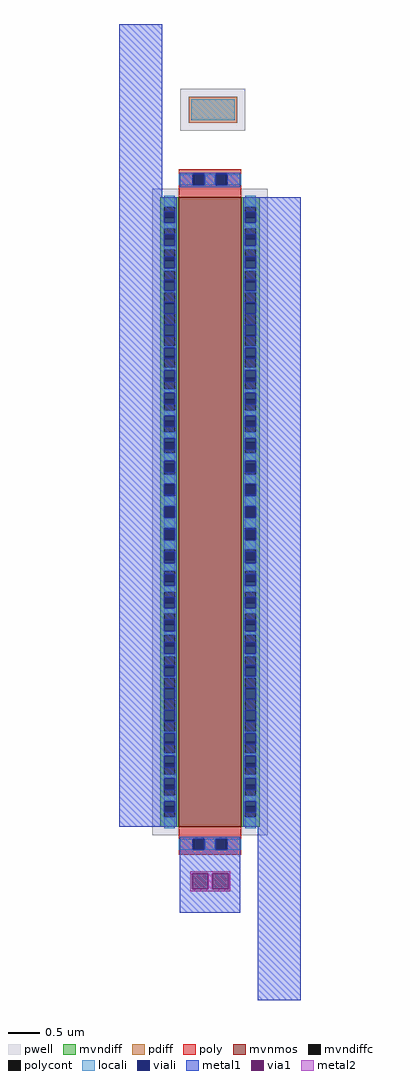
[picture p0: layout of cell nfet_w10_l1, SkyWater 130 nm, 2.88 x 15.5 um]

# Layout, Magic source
magic
tech sky130A
magscale 1 2
<< pdiff >>
rect -2794 2031 -2640 2113
<< metal1 >>
rect -3014 -206 -2878 2344
rect -2822 -479 -2630 -284
rect -2574 -756 -2438 1794
use contact$4  contact$4_0
transform 1 0 -2725 0 1 -379
box -64 -32 64 32
use contact$2  contact$2_0
transform 1 0 -2717 0 1 2072
box -103 -67 103 67
use sky130_fd_pr__nfet_g5v0d10v5_9A4VCP  sky130_fd_pr__nfet_g5v0d10v5_9A4VCP_0
transform 1 0 -2726 0 1 794
box -184 -1088 184 1088
<< end >>

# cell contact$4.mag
magic
tech sky130A
<< metal1 >>
rect -32 13 32 16
rect -32 -13 -29 13
rect -3 -13 3 13
rect 29 -13 32 13
rect -32 -16 32 -13
<< via1 >>
rect -29 -13 -3 13
rect 3 -13 29 13
<< metal2 >>
rect -32 13 32 16
rect -32 -13 -29 13
rect -3 -13 3 13
rect 29 -13 32 13
rect -32 -16 32 -13
<< end >>

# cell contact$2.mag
magic
tech sky130A
magscale 1 2
<< pwell >>
rect -103 -67 103 67
<< locali >>
rect -69 -33 69 33
<< end >>

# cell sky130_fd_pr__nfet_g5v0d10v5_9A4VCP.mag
magic
tech sky130A
<< pwell >>
rect -92 -513 92 513
<< mvnmos >>
rect -50 -500 50 500
<< mvndiff >>
rect -79 485 -50 500
rect -79 467 -73 485
rect -56 467 -50 485
rect -79 451 -50 467
rect -79 433 -73 451
rect -56 433 -50 451
rect -79 417 -50 433
rect -79 399 -73 417
rect -56 399 -50 417
rect -79 383 -50 399
rect -79 365 -73 383
rect -56 365 -50 383
rect -79 349 -50 365
rect -79 331 -73 349
rect -56 331 -50 349
rect -79 315 -50 331
rect -79 297 -73 315
rect -56 297 -50 315
rect -79 281 -50 297
rect -79 263 -73 281
rect -56 263 -50 281
rect -79 247 -50 263
rect -79 229 -73 247
rect -56 229 -50 247
rect -79 213 -50 229
rect -79 195 -73 213
rect -56 195 -50 213
rect -79 179 -50 195
rect -79 161 -73 179
rect -56 161 -50 179
rect -79 145 -50 161
rect -79 127 -73 145
rect -56 127 -50 145
rect -79 111 -50 127
rect -79 93 -73 111
rect -56 93 -50 111
rect -79 77 -50 93
rect -79 59 -73 77
rect -56 59 -50 77
rect -79 43 -50 59
rect -79 25 -73 43
rect -56 25 -50 43
rect -79 9 -50 25
rect -79 -9 -73 9
rect -56 -9 -50 9
rect -79 -25 -50 -9
rect -79 -43 -73 -25
rect -56 -43 -50 -25
rect -79 -59 -50 -43
rect -79 -77 -73 -59
rect -56 -77 -50 -59
rect -79 -93 -50 -77
rect -79 -111 -73 -93
rect -56 -111 -50 -93
rect -79 -127 -50 -111
rect -79 -145 -73 -127
rect -56 -145 -50 -127
rect -79 -161 -50 -145
rect -79 -179 -73 -161
rect -56 -179 -50 -161
rect -79 -195 -50 -179
rect -79 -213 -73 -195
rect -56 -213 -50 -195
rect -79 -229 -50 -213
rect -79 -247 -73 -229
rect -56 -247 -50 -229
rect -79 -263 -50 -247
rect -79 -281 -73 -263
rect -56 -281 -50 -263
rect -79 -297 -50 -281
rect -79 -315 -73 -297
rect -56 -315 -50 -297
rect -79 -331 -50 -315
rect -79 -349 -73 -331
rect -56 -349 -50 -331
rect -79 -365 -50 -349
rect -79 -383 -73 -365
rect -56 -383 -50 -365
rect -79 -399 -50 -383
rect -79 -417 -73 -399
rect -56 -417 -50 -399
rect -79 -433 -50 -417
rect -79 -451 -73 -433
rect -56 -451 -50 -433
rect -79 -467 -50 -451
rect -79 -485 -73 -467
rect -56 -485 -50 -467
rect -79 -500 -50 -485
rect 50 485 79 500
rect 50 467 56 485
rect 73 467 79 485
rect 50 451 79 467
rect 50 433 56 451
rect 73 433 79 451
rect 50 417 79 433
rect 50 399 56 417
rect 73 399 79 417
rect 50 383 79 399
rect 50 365 56 383
rect 73 365 79 383
rect 50 349 79 365
rect 50 331 56 349
rect 73 331 79 349
rect 50 315 79 331
rect 50 297 56 315
rect 73 297 79 315
rect 50 281 79 297
rect 50 263 56 281
rect 73 263 79 281
rect 50 247 79 263
rect 50 229 56 247
rect 73 229 79 247
rect 50 213 79 229
rect 50 195 56 213
rect 73 195 79 213
rect 50 179 79 195
rect 50 161 56 179
rect 73 161 79 179
rect 50 145 79 161
rect 50 127 56 145
rect 73 127 79 145
rect 50 111 79 127
rect 50 93 56 111
rect 73 93 79 111
rect 50 77 79 93
rect 50 59 56 77
rect 73 59 79 77
rect 50 43 79 59
rect 50 25 56 43
rect 73 25 79 43
rect 50 9 79 25
rect 50 -9 56 9
rect 73 -9 79 9
rect 50 -25 79 -9
rect 50 -43 56 -25
rect 73 -43 79 -25
rect 50 -59 79 -43
rect 50 -77 56 -59
rect 73 -77 79 -59
rect 50 -93 79 -77
rect 50 -111 56 -93
rect 73 -111 79 -93
rect 50 -127 79 -111
rect 50 -145 56 -127
rect 73 -145 79 -127
rect 50 -161 79 -145
rect 50 -179 56 -161
rect 73 -179 79 -161
rect 50 -195 79 -179
rect 50 -213 56 -195
rect 73 -213 79 -195
rect 50 -229 79 -213
rect 50 -247 56 -229
rect 73 -247 79 -229
rect 50 -263 79 -247
rect 50 -281 56 -263
rect 73 -281 79 -263
rect 50 -297 79 -281
rect 50 -315 56 -297
rect 73 -315 79 -297
rect 50 -331 79 -315
rect 50 -349 56 -331
rect 73 -349 79 -331
rect 50 -365 79 -349
rect 50 -383 56 -365
rect 73 -383 79 -365
rect 50 -399 79 -383
rect 50 -417 56 -399
rect 73 -417 79 -399
rect 50 -433 79 -417
rect 50 -451 56 -433
rect 73 -451 79 -433
rect 50 -467 79 -451
rect 50 -485 56 -467
rect 73 -485 79 -467
rect 50 -500 79 -485
<< mvndiffc >>
rect -73 467 -56 485
rect -73 433 -56 451
rect -73 399 -56 417
rect -73 365 -56 383
rect -73 331 -56 349
rect -73 297 -56 315
rect -73 263 -56 281
rect -73 229 -56 247
rect -73 195 -56 213
rect -73 161 -56 179
rect -73 127 -56 145
rect -73 93 -56 111
rect -73 59 -56 77
rect -73 25 -56 43
rect -73 -9 -56 9
rect -73 -43 -56 -25
rect -73 -77 -56 -59
rect -73 -111 -56 -93
rect -73 -145 -56 -127
rect -73 -179 -56 -161
rect -73 -213 -56 -195
rect -73 -247 -56 -229
rect -73 -281 -56 -263
rect -73 -315 -56 -297
rect -73 -349 -56 -331
rect -73 -383 -56 -365
rect -73 -417 -56 -399
rect -73 -451 -56 -433
rect -73 -485 -56 -467
rect 56 467 73 485
rect 56 433 73 451
rect 56 399 73 417
rect 56 365 73 383
rect 56 331 73 349
rect 56 297 73 315
rect 56 263 73 281
rect 56 229 73 247
rect 56 195 73 213
rect 56 161 73 179
rect 56 127 73 145
rect 56 93 73 111
rect 56 59 73 77
rect 56 25 73 43
rect 56 -9 73 9
rect 56 -43 73 -25
rect 56 -77 73 -59
rect 56 -111 73 -93
rect 56 -145 73 -127
rect 56 -179 73 -161
rect 56 -213 73 -195
rect 56 -247 73 -229
rect 56 -281 73 -263
rect 56 -315 73 -297
rect 56 -349 73 -331
rect 56 -383 73 -365
rect 56 -417 73 -399
rect 56 -451 73 -433
rect 56 -485 73 -467
<< poly >>
rect -50 536 50 544
rect -50 519 -26 536
rect -8 519 8 536
rect 26 519 50 536
rect -50 500 50 519
rect -50 -519 50 -500
rect -50 -536 -26 -519
rect -8 -536 8 -519
rect 26 -536 50 -519
rect -50 -544 50 -536
<< polycont >>
rect -26 519 -8 536
rect 8 519 26 536
rect -26 -536 -8 -519
rect 8 -536 26 -519
<< locali >>
rect -50 519 -27 536
rect -8 519 8 536
rect 27 519 50 536
rect -73 485 -56 502
rect -73 451 -56 459
rect -73 417 -56 423
rect -73 383 -56 387
rect -73 349 -56 351
rect -73 261 -56 263
rect -73 225 -56 229
rect -73 189 -56 195
rect -73 153 -56 161
rect -73 117 -56 127
rect -73 81 -56 93
rect -73 45 -56 59
rect -73 9 -56 25
rect -73 -25 -56 -9
rect -73 -59 -56 -45
rect -73 -93 -56 -81
rect -73 -127 -56 -117
rect -73 -161 -56 -153
rect -73 -195 -56 -189
rect -73 -229 -56 -225
rect -73 -263 -56 -261
rect -73 -351 -56 -349
rect -73 -387 -56 -383
rect -73 -423 -56 -417
rect -73 -459 -56 -451
rect -73 -502 -56 -485
rect 56 485 73 502
rect 56 451 73 459
rect 56 417 73 423
rect 56 383 73 387
rect 56 349 73 351
rect 56 261 73 263
rect 56 225 73 229
rect 56 189 73 195
rect 56 153 73 161
rect 56 117 73 127
rect 56 81 73 93
rect 56 45 73 59
rect 56 9 73 25
rect 56 -25 73 -9
rect 56 -59 73 -45
rect 56 -93 73 -81
rect 56 -127 73 -117
rect 56 -161 73 -153
rect 56 -195 73 -189
rect 56 -229 73 -225
rect 56 -263 73 -261
rect 56 -351 73 -349
rect 56 -387 73 -383
rect 56 -423 73 -417
rect 56 -459 73 -451
rect 56 -502 73 -485
rect -50 -536 -27 -519
rect -8 -536 8 -519
rect 27 -536 50 -519
<< viali >>
rect -27 519 -26 536
rect -26 519 -9 536
rect 9 519 26 536
rect 26 519 27 536
rect -73 467 -56 477
rect -73 459 -56 467
rect -73 433 -56 441
rect -73 423 -56 433
rect -73 399 -56 405
rect -73 387 -56 399
rect -73 365 -56 369
rect -73 351 -56 365
rect -73 331 -56 333
rect -73 315 -56 331
rect -73 281 -56 297
rect -73 279 -56 281
rect -73 247 -56 261
rect -73 243 -56 247
rect -73 213 -56 225
rect -73 207 -56 213
rect -73 179 -56 189
rect -73 171 -56 179
rect -73 145 -56 153
rect -73 135 -56 145
rect -73 111 -56 117
rect -73 99 -56 111
rect -73 77 -56 81
rect -73 63 -56 77
rect -73 43 -56 45
rect -73 27 -56 43
rect -73 -9 -56 9
rect -73 -43 -56 -27
rect -73 -45 -56 -43
rect -73 -77 -56 -63
rect -73 -81 -56 -77
rect -73 -111 -56 -99
rect -73 -117 -56 -111
rect -73 -145 -56 -135
rect -73 -153 -56 -145
rect -73 -179 -56 -171
rect -73 -189 -56 -179
rect -73 -213 -56 -207
rect -73 -225 -56 -213
rect -73 -247 -56 -243
rect -73 -261 -56 -247
rect -73 -281 -56 -279
rect -73 -297 -56 -281
rect -73 -331 -56 -315
rect -73 -333 -56 -331
rect -73 -365 -56 -351
rect -73 -369 -56 -365
rect -73 -399 -56 -387
rect -73 -405 -56 -399
rect -73 -433 -56 -423
rect -73 -441 -56 -433
rect -73 -467 -56 -459
rect -73 -477 -56 -467
rect 56 467 73 477
rect 56 459 73 467
rect 56 433 73 441
rect 56 423 73 433
rect 56 399 73 405
rect 56 387 73 399
rect 56 365 73 369
rect 56 351 73 365
rect 56 331 73 333
rect 56 315 73 331
rect 56 281 73 297
rect 56 279 73 281
rect 56 247 73 261
rect 56 243 73 247
rect 56 213 73 225
rect 56 207 73 213
rect 56 179 73 189
rect 56 171 73 179
rect 56 145 73 153
rect 56 135 73 145
rect 56 111 73 117
rect 56 99 73 111
rect 56 77 73 81
rect 56 63 73 77
rect 56 43 73 45
rect 56 27 73 43
rect 56 -9 73 9
rect 56 -43 73 -27
rect 56 -45 73 -43
rect 56 -77 73 -63
rect 56 -81 73 -77
rect 56 -111 73 -99
rect 56 -117 73 -111
rect 56 -145 73 -135
rect 56 -153 73 -145
rect 56 -179 73 -171
rect 56 -189 73 -179
rect 56 -213 73 -207
rect 56 -225 73 -213
rect 56 -247 73 -243
rect 56 -261 73 -247
rect 56 -281 73 -279
rect 56 -297 73 -281
rect 56 -331 73 -315
rect 56 -333 73 -331
rect 56 -365 73 -351
rect 56 -369 73 -365
rect 56 -399 73 -387
rect 56 -405 73 -399
rect 56 -433 73 -423
rect 56 -441 73 -433
rect 56 -467 73 -459
rect 56 -477 73 -467
rect -27 -536 -26 -519
rect -26 -536 -9 -519
rect 9 -536 26 -519
rect 26 -536 27 -519
<< metal1 >>
rect -48 536 48 539
rect -48 519 -27 536
rect -9 519 9 536
rect 27 519 48 536
rect -48 516 48 519
rect -76 477 -53 500
rect -76 459 -73 477
rect -56 459 -53 477
rect -76 441 -53 459
rect -76 423 -73 441
rect -56 423 -53 441
rect -76 405 -53 423
rect -76 387 -73 405
rect -56 387 -53 405
rect -76 369 -53 387
rect -76 351 -73 369
rect -56 351 -53 369
rect -76 333 -53 351
rect -76 315 -73 333
rect -56 315 -53 333
rect -76 297 -53 315
rect -76 279 -73 297
rect -56 279 -53 297
rect -76 261 -53 279
rect -76 243 -73 261
rect -56 243 -53 261
rect -76 225 -53 243
rect -76 207 -73 225
rect -56 207 -53 225
rect -76 189 -53 207
rect -76 171 -73 189
rect -56 171 -53 189
rect -76 153 -53 171
rect -76 135 -73 153
rect -56 135 -53 153
rect -76 117 -53 135
rect -76 99 -73 117
rect -56 99 -53 117
rect -76 81 -53 99
rect -76 63 -73 81
rect -56 63 -53 81
rect -76 45 -53 63
rect -76 27 -73 45
rect -56 27 -53 45
rect -76 9 -53 27
rect -76 -9 -73 9
rect -56 -9 -53 9
rect -76 -27 -53 -9
rect -76 -45 -73 -27
rect -56 -45 -53 -27
rect -76 -63 -53 -45
rect -76 -81 -73 -63
rect -56 -81 -53 -63
rect -76 -99 -53 -81
rect -76 -117 -73 -99
rect -56 -117 -53 -99
rect -76 -135 -53 -117
rect -76 -153 -73 -135
rect -56 -153 -53 -135
rect -76 -171 -53 -153
rect -76 -189 -73 -171
rect -56 -189 -53 -171
rect -76 -207 -53 -189
rect -76 -225 -73 -207
rect -56 -225 -53 -207
rect -76 -243 -53 -225
rect -76 -261 -73 -243
rect -56 -261 -53 -243
rect -76 -279 -53 -261
rect -76 -297 -73 -279
rect -56 -297 -53 -279
rect -76 -315 -53 -297
rect -76 -333 -73 -315
rect -56 -333 -53 -315
rect -76 -351 -53 -333
rect -76 -369 -73 -351
rect -56 -369 -53 -351
rect -76 -387 -53 -369
rect -76 -405 -73 -387
rect -56 -405 -53 -387
rect -76 -423 -53 -405
rect -76 -441 -73 -423
rect -56 -441 -53 -423
rect -76 -459 -53 -441
rect -76 -477 -73 -459
rect -56 -477 -53 -459
rect -76 -500 -53 -477
rect 53 477 76 500
rect 53 459 56 477
rect 73 459 76 477
rect 53 441 76 459
rect 53 423 56 441
rect 73 423 76 441
rect 53 405 76 423
rect 53 387 56 405
rect 73 387 76 405
rect 53 369 76 387
rect 53 351 56 369
rect 73 351 76 369
rect 53 333 76 351
rect 53 315 56 333
rect 73 315 76 333
rect 53 297 76 315
rect 53 279 56 297
rect 73 279 76 297
rect 53 261 76 279
rect 53 243 56 261
rect 73 243 76 261
rect 53 225 76 243
rect 53 207 56 225
rect 73 207 76 225
rect 53 189 76 207
rect 53 171 56 189
rect 73 171 76 189
rect 53 153 76 171
rect 53 135 56 153
rect 73 135 76 153
rect 53 117 76 135
rect 53 99 56 117
rect 73 99 76 117
rect 53 81 76 99
rect 53 63 56 81
rect 73 63 76 81
rect 53 45 76 63
rect 53 27 56 45
rect 73 27 76 45
rect 53 9 76 27
rect 53 -9 56 9
rect 73 -9 76 9
rect 53 -27 76 -9
rect 53 -45 56 -27
rect 73 -45 76 -27
rect 53 -63 76 -45
rect 53 -81 56 -63
rect 73 -81 76 -63
rect 53 -99 76 -81
rect 53 -117 56 -99
rect 73 -117 76 -99
rect 53 -135 76 -117
rect 53 -153 56 -135
rect 73 -153 76 -135
rect 53 -171 76 -153
rect 53 -189 56 -171
rect 73 -189 76 -171
rect 53 -207 76 -189
rect 53 -225 56 -207
rect 73 -225 76 -207
rect 53 -243 76 -225
rect 53 -261 56 -243
rect 73 -261 76 -243
rect 53 -279 76 -261
rect 53 -297 56 -279
rect 73 -297 76 -279
rect 53 -315 76 -297
rect 53 -333 56 -315
rect 73 -333 76 -315
rect 53 -351 76 -333
rect 53 -369 56 -351
rect 73 -369 76 -351
rect 53 -387 76 -369
rect 53 -405 56 -387
rect 73 -405 76 -387
rect 53 -423 76 -405
rect 53 -441 56 -423
rect 73 -441 76 -423
rect 53 -459 76 -441
rect 53 -477 56 -459
rect 73 -477 76 -459
rect 53 -500 76 -477
rect -48 -519 48 -516
rect -48 -536 -27 -519
rect -9 -536 9 -519
rect 27 -536 48 -519
rect -48 -539 48 -536
<< end >>
